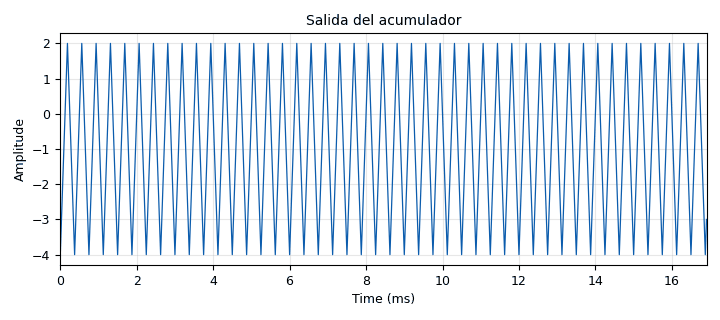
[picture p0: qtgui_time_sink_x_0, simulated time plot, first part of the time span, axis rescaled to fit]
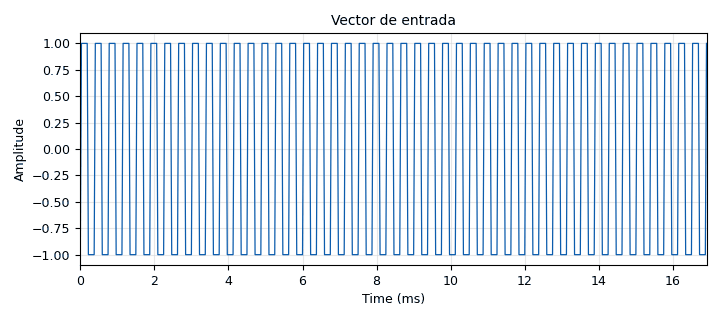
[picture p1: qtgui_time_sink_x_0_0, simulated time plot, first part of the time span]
options:
  parameters:
    author: Nohelia
    generate_options: qt_gui
    id: Practica_1
    output_language: python
    title: Not titled yet
  states: {}

blocks:
- name: samp_rate
  id: variable
  parameters:
    value: '32000'
  states: {}
- name: blocks_throttle2_0
  id: blocks_throttle2
  parameters:
    samples_per_second: samp_rate
    type: float
  states: {}
- name: blocks_throttle2_0_0
  id: blocks_throttle2
  parameters:
    samples_per_second: samp_rate
    type: float
  states: {}
- name: blocks_throttle2_0_1
  id: blocks_throttle2
  parameters:
    samples_per_second: samp_rate
    type: float
  states: {state: disabled}
- name: blocks_vector_source_x_0
  id: blocks_vector_source_x
  parameters:
    repeat: 'True'
    type: float
    vector: (1, 1, 1, 1, 1, 1, -1, -1, -1, -1, -1, -1)
  states: {}
- name: epy_block_0
  id: epy_block
  parameters:
    _source_code: |
      """
      Embedded Python Blocks:

      Each time this file is saved, GRC will instantiate the first class it finds
      to get ports and parameters of your block. The arguments to __init__  will
      be the parameters. All of them are required to have default values!
      """

      # Activate your venv first, then install

      import numpy as np
      from gnuradio import gr


      class blk(gr.sync_block):

      	def __init__(self): # only default arguments here
      		gr.sync_block.__init__(
      			self,
      			name = 'e_Acum', # will show up in GRC
      			in_sig = [np.float32],
      			out_sig = [np.float32]
      		)
      		self.total = 0.0

      	def work(self, input_items, output_items):
      		x = input_items[0] # Senial de entrada .
      		y0 = output_items[0] # Senial acumulada

      		y0[:] = np.cumsum(x)
      		# self.total = y0[-1]

      		return len(y0)
  states: {}
- name: epy_block_2
  id: epy_block
  parameters:
    _source_code: |-
      """
      Embedded Python Blocks:

      Each time this file is saved, GRC will instantiate the first class it finds
      to get ports and parameters of your block. The arguments to __init__  will
      be the parameters. All of them are required to have default values!
      """

      import numpy as np
      from gnuradio import gr


      class blk(gr.sync_block):

      	def __init__(self): # only default arguments here
      		gr.sync_block.__init__(
      			self,
      			name = 'e_Diff', # will show up in GRC
      			in_sig = [np.float32],
      			out_sig = [np.float32]
      		)
      		self.acum_anterior = 0
      		

      	def work(self, input_items, output_items):
      		x = input_items[0] # Senial de entrada .
      		y0 = output_items[0] # Senial acumulada diferencial

      		N = len(x)

      		diff = np.diff(np.concatenate([self.prev_value], x))
      		y0[:] = diff

      		self.prev_value = x[-1]

      		return len(y0)
  states: {}
- name: epy_block_3
  id: epy_block
  parameters:
    _source_code: |
      """
      Embedded Python Blocks:

      Each time this file is saved, GRC will instantiate the first class it finds
      to get ports and parameters of your block. The arguments to __init__  will
      be the parameters. All of them are required to have default values!
      """

      # Activate your venv first, then install

      import numpy as np
      from gnuradio import gr

      class blk(gr.sync_block):
          def init (self): # only default arguments here
              gr.sync_block.init(self,
              name ='e_Acumm', # will show up in GRC
              in_sig =[np.float32],
              out_sig =[np.float32]
          )
          def work(self , input_items , output_items ):
              x = input_items[0] # Senial de entrada .
              y0 = output_items[0] # Senial acumulada
              y0[:] = np.cumsum(x)
              return len(y0)
  states: {state: disabled}
- name: qtgui_time_sink_x_0
  id: qtgui_time_sink_x
  parameters:
    alias: Acumulador
    name: Salida del acumulador
    size: '1024'
    srate: samp_rate
    type: float
  states: {}
- name: qtgui_time_sink_x_0_0
  id: qtgui_time_sink_x
  parameters:
    alias: Entrada
    autoscale: 'True'
    name: Vector de entrada
    size: '1024'
    srate: samp_rate
    type: float
  states: {}
- name: qtgui_time_sink_x_0_1
  id: qtgui_time_sink_x
  parameters:
    alias: Diferenciador
    name: Salida del diferenciador
    size: '1024'
    srate: samp_rate
    type: float
  states: {}
- name: qtgui_time_sink_x_0_1_0
  id: qtgui_time_sink_x
  parameters:
    alias: Diferenciador
    name: Salida del diferenciador
    size: '1024'
    srate: samp_rate
    type: float
  states: {state: disabled}

connections:
- [blocks_throttle2_0, '0', qtgui_time_sink_x_0, '0']
- [blocks_throttle2_0_0, '0', qtgui_time_sink_x_0_1, '0']
- [blocks_throttle2_0_1, '0', qtgui_time_sink_x_0_1_0, '0']
- [blocks_vector_source_x_0, '0', epy_block_0, '0']
- [blocks_vector_source_x_0, '0', epy_block_2, '0']
- [blocks_vector_source_x_0, '0', epy_block_3, '0']
- [blocks_vector_source_x_0, '0', qtgui_time_sink_x_0_0, '0']
- [epy_block_0, '0', blocks_throttle2_0, '0']
- [epy_block_2, '0', blocks_throttle2_0_0, '0']
- [epy_block_3, '0', blocks_throttle2_0_1, '0']

metadata:
  file_format: 1
  grc_version: 3.10.10.0
